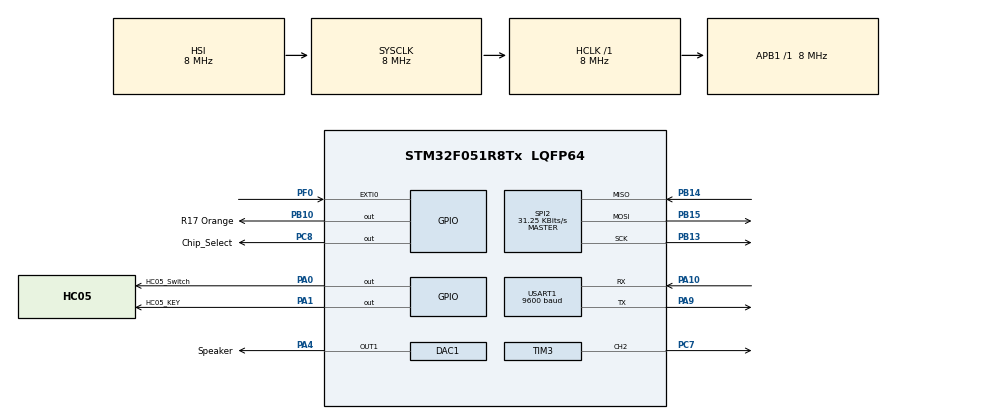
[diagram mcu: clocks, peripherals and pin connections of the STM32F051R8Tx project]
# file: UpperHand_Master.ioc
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Mcu.Family=STM32F0
Mcu.Name=STM32F051R8Tx
Mcu.Package=LQFP64
NVIC.USART1_IRQn=true\:0\:0\:false\:false\:true\:true\:true
PA0.GPIO_Label=HC05_Switch
PA0.Signal=GPIO_Output
PA1.GPIO_Label=HC05_KEY
PA1.GPIO_ModeDefaultOutputPP=GPIO_MODE_OUTPUT_PP
PA1.GPIO_PuPd=GPIO_PULLUP
PA1.GPIO_Speed=GPIO_SPEED_FREQ_LOW
PA1.PinState=GPIO_PIN_SET
PA1.Signal=GPIO_Output
PA10.Mode=Asynchronous
PA10.Signal=USART1_RX
PA4.GPIO_Label=Speaker
PA4.Signal=COMP_DAC11_group
PA9.Mode=Asynchronous
PA9.Signal=USART1_TX
PB10.GPIO_Label=R17 Orange
PB10.Signal=GPIO_Output
PB13.Mode=Full_Duplex_Master
PB13.Signal=SPI2_SCK
PB14.Mode=Full_Duplex_Master
PB14.Signal=SPI2_MISO
PB15.Mode=Full_Duplex_Master
PB15.Signal=SPI2_MOSI
PC7.Signal=S_TIM3_CH2
PC8.GPIO_Label=Chip_Select
PC8.PinState=GPIO_PIN_SET
PC8.Signal=GPIO_Output
PF0-OSC_IN.Signal=GPXTI0
ProjectManager.HeapSize=0x200
ProjectManager.StackSize=0x400
ProjectManager.TargetToolchain=STM32CubeIDE
RCC.AHBFreq_Value=8000000
RCC.APB1Freq_Value=8000000
RCC.APB1TimFreq_Value=8000000
RCC.HCLKFreq_Value=8000000
RCC.SYSCLKFreq_VALUE=8000000
SH.COMP_DAC11_group.0=DAC1_OUT1,DAC_OUT1
SH.S_TIM3_CH2.0=TIM3_CH2,PWM Generation2 CH2
SPI2.BaudRatePrescaler=SPI_BAUDRATEPRESCALER_256
SPI2.CLKPhase=SPI_PHASE_1EDGE
SPI2.CLKPolarity=SPI_POLARITY_LOW
SPI2.CalculateBaudRate=31.25 KBits/s
SPI2.DataSize=SPI_DATASIZE_8BIT
SPI2.Direction=SPI_DIRECTION_2LINES
SPI2.Mode=SPI_MODE_MASTER
SPI2.VirtualType=VM_MASTER
TIM3.Channel-PWM\ Generation2\ CH2=TIM_CHANNEL_2
TIM3.ClockDivision=TIM_CLOCKDIVISION_DIV2
TIM3.Period=100
TIM3.Prescaler=100
USART1.AutoBaudRateEnableParam=UART_ADVFEATURE_AUTOBAUDRATE_DISABLE
USART1.BaudRate=9600
USART1.VirtualMode-Asynchronous=VM_ASYNC
VP_TIM3_VS_ClockSourceINT.Mode=Internal
board=custom

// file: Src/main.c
/* USER CODE BEGIN Header */
/**
  ******************************************************************************
  * @file           : main.c
  * @brief          : Main program body
  ******************************************************************************
  * @attention
  *
  * <h2><center>&copy; Copyright (c) 2019 STMicroelectronics.
  * All rights reserved.</center></h2>
  *
  * This software component is licensed by ST under BSD 3-Clause license,
  * the "License"; You may not use this file except in compliance with the
  * License. You may obtain a copy of the License at:
  *                        opensource.org/licenses/BSD-3-Clause
  *
  ******************************************************************************
  */
/* USER CODE END Header */

#include "main.h"

/* USER CODE BEGIN Includes */
#include "LDC1101.h"

#define   SINE_RES         2048			// Waveform resolution
#define	MASTER	0		//Define the role before compiling - 0=Slave(Board with "S"); 1=Master(Board with "M")

#include "string.h"

const uint16_t function[SINE_RES] = { 2048, 2145, 2242, 2339, 2435, 2530, 2624, 2717, 2808, 2897,
                                      2984, 3069, 3151, 3230, 3307, 3381, 3451, 3518, 3581, 3640,
                                      3696, 3748, 3795, 3838, 3877, 3911, 3941, 3966, 3986, 4002,
                                      4013, 4019, 4020, 4016, 4008, 3995, 3977, 3954, 3926, 3894,
                                      3858, 3817, 3772, 3722, 3669, 3611, 3550, 3485, 3416, 3344,
                                      3269, 3191, 3110, 3027, 2941, 2853, 2763, 2671, 2578, 2483,
                                      2387, 2291, 2194, 2096, 1999, 1901, 1804, 1708, 1612, 1517,
                                      1424, 1332, 1242, 1154, 1068, 985, 904, 826, 751, 679,
                                      610, 545, 484, 426, 373, 323, 278, 237, 201, 169,
                                      141, 118, 100, 87, 79, 75, 76, 82, 93, 109,
                                      129, 154, 184, 218, 257, 300, 347, 399, 455, 514,
                                      577, 644, 714, 788, 865, 944, 1026, 1111, 1198, 1287,
                                      1378, 1471, 1565, 1660, 1756, 1853, 1950, 2047};

const uint16_t function2[64] = { 0x7fd,0x8c5,0x98c,0xa4f,0xb0c,0xbc1,0xc6d,0xd0e,
										0xda3,0xe2a,0xea1,0xf09,0xf5e,0xfa2,0xfd3,0xff0,
										0xffa,0xff0,0xfd3,0xfa2,0xf5e,0xf09,0xea1,0xe2a,
										0xda3,0xd0e,0xc6d,0xbc1,0xb0c,0xa4f,0x98c,0x8c5,
										0x7fd,0x735,0x66e,0x5ab,0x4ee,0x439,0x38d,0x2ec,
										0x257,0x1d0,0x159,0xf1,0x9c,0x58,0x27,0xa,
										0x0,0xa,0x27,0x58,0x9c,0xf1,0x159,0x1d0,
										0x257,0x2ec,0x38d,0x439,0x4ee,0x5ab,0x66e,0x735};

/* USER CODE END Includes */

DAC_HandleTypeDef hdac1;

SPI_HandleTypeDef hspi2;

TIM_HandleTypeDef htim3;

UART_HandleTypeDef huart1;

/* USER CODE BEGIN PV */
uint8_t Rx_data[2];
uint8_t Rx_Buffer[20], Rx_indx, Transfer_cplt;
uint8_t RxTx_Response[] = "Gotcha!!!\r\n";

float voltage = 2.2;
uint8_t valByte;

int pwm = 0;

//Variables for DAC
uint8_t indexx=0;
uint8_t delay=0;
uint8_t setpoint=200;
uint8_t outerloop=100;
/* USER CODE END PV */

void SystemClock_Config(void);
static void MX_GPIO_Init(void);
static void MX_USART1_UART_Init(void);
static void MX_DAC1_Init(void);
static void MX_SPI2_Init(void);
static void MX_TIM3_Init(void);

/* USER CODE BEGIN 0 */

uint8_t spiTXData[2];
uint8_t spiRXData[2];
uint8_t command;
uint8_t data;

void WriteSPI(uint8_t data , uint8_t addr)
//void WriteSPI()
{

	HAL_GPIO_WritePin(Chip_Select_GPIO_Port, Chip_Select_Pin, GPIO_PIN_RESET);
	//Transmit the register to write
	spiTXData[0] = addr & 0x7F;
	spiTXData[1] = data;
	//data = 0x01;
	HAL_SPI_Transmit(&hspi2, spiTXData, 2, 50);

	HAL_GPIO_WritePin(Chip_Select_GPIO_Port, Chip_Select_Pin, GPIO_PIN_SET);
	HAL_Delay(500);

	  /* USER CODE END 2 */
}

void ReadSPI()
{
	HAL_GPIO_WritePin(Chip_Select_GPIO_Port, Chip_Select_Pin, GPIO_PIN_RESET);
	//Transmit the register to read
	command = 0x80|0X21;
	HAL_SPI_Transmit(&hspi2, &command, 1, 50);

	command = 0x80|0x22;
	HAL_SPI_Transmit(&hspi2, &command, 1, 50);

	//Receive the data from the LDC
	HAL_SPI_Receive(&hspi2, spiRXData, 1, 50);

	//command = 0x80|0x23;
	//HAL_SPI_Transmit(&hspi2, &command, 1, 50);

	//command = 0x80|0x24;
	//HAL_SPI_Transmit(&hspi2, &command, 1, 50);

	HAL_GPIO_WritePin(Chip_Select_GPIO_Port, Chip_Select_Pin, GPIO_PIN_SET);

	  /* USER CODE END 2 */
}

void Config_Func_Mode(uint8_t mode)
{
	WriteSPI(mode, 0x0B);
}

void LDC_Init()
{
  WriteSPI(0x36, LDC1101_CMD_RP);
  WriteSPI(0xDE, LDC1101_CMD_TC1);
  WriteSPI(0xFE, LDC1101_CMD_TC2);
  WriteSPI(0xD7, LDC1101_CMD_DIGCONFIG);
  WriteSPI(0x00, LDC1101_CMD_ALTCONFIG);
  WriteSPI(0x00, LDC1101_CMD_D_CONFIG);
}

void playSound(void)
{
	while(indexx<127)
		  {
		 	 HAL_GPIO_WritePin (GPIOB, R17_Orange_Pin, GPIO_PIN_SET);
		  	 HAL_DAC_SetValue(&hdac1,DAC_CHANNEL_1,DAC_ALIGN_8B_R,function[indexx]);
		  	 indexx++;
		  	 while(delay<setpoint)
		  	 {
		  		  delay++;
		  	 }
		  	 delay=0;
		  }
		  indexx=0;
		  setpoint++;
}

void HAL_UART_RxCpltCallback(UART_HandleTypeDef *huart)

{
	    uint8_t i;
	    if (huart->Instance == USART1)  //current UART
	        {
	        if (Rx_indx==0) {for (i=0;i<100;i++) Rx_Buffer[i]=0;}   //clear Rx_Buffer before receiving new data

	        if (Rx_data[0]==49) //if received data different from ascii 10 (enter)
	            {
	            playSound();   //add data to Rx_Buffer
	            //HAL_GPIO_WritePin (GPIOB, R17_Orange_Pin, GPIO_PIN_SET);
	            }
	        else            //if received data = 13
	            {
	            Rx_indx=0;
	            Transfer_cplt=1;//transfer complete, data is ready to read
	            HAL_GPIO_WritePin (GPIOB, R17_Orange_Pin, GPIO_PIN_RESET);
	            }
	        HAL_GPIO_WritePin (GPIOB, R17_Orange_Pin, GPIO_PIN_RESET);
	        HAL_UART_Receive_IT(&huart1, Rx_data, 1);   //activate UART receive interrupt every time
	        }

}

void HAL_UART_ErrorCallback(UART_HandleTypeDef *huart)
{
	//NOT SURE THIS IS NEEDED......LEAVE FOR NOW
	//HAL_GPIO_WritePin (GPIOB, R17_Orange_Pin, GPIO_PIN_SET);
	//x = huart->ErrorCode;
}
/* USER CODE END 0 */

int main(void)
{
  /* USER CODE BEGIN 1 */
	void debugPrint(UART_HandleTypeDef *huart1, char _out[])
	    {
	     HAL_UART_Transmit(huart1, (uint8_t *) _out, strlen(_out), 15);
	     Error_Handler();
	    }
  /* USER CODE END 1 */

  /* MCU Configuration--------------------------------------------------------*/

  /* Reset of all peripherals, Initializes the Flash interface and the Systick. */
  HAL_Init();

  /* Configure the system clock */
  SystemClock_Config();

  /* Initialize all configured peripherals */
  MX_GPIO_Init();
  MX_USART1_UART_Init();
  //MX_DAC1_Init();
  //MX_SPI2_Init();
  MX_TIM3_Init();
  /* USER CODE BEGIN 2 */
  if (MASTER==1) {MX_DAC1_Init();}
  if (MASTER==0) {MX_SPI2_Init();}
  /* USER CODE END 2 */

  /* Infinite loop */
  /* USER CODE BEGIN WHILE */

  HAL_TIM_PWM_Start(&htim3, TIM_CHANNEL_2);

  HAL_GPIO_WritePin (GPIOB, R17_Orange_Pin, GPIO_PIN_SET);  //Start up indicator
  HAL_Delay(500);
  HAL_GPIO_WritePin (GPIOB, R17_Orange_Pin, GPIO_PIN_RESET);  //Turn off for other testing....
  HAL_GPIO_WritePin (GPIOA, HC05_KEY_Pin, GPIO_PIN_RESET); //Set this to HIGH to put HC05 in Program Mode
  HAL_Delay(200);
  HAL_GPIO_WritePin (GPIOA, HC05_Switch_Pin, GPIO_PIN_SET); //Power up the HC05
  HAL_Delay(200);

  //********THIS CODE IS USED TO SET THE ROLE OF THE HC05*********************
    /*debugPrint(&huart1, "AT+ROLE=1");
    debugPrint(&huart1, "\r\n");
    HAL_Delay(1000);
    debugPrint(&huart1, "AT+CMODE=0");
    debugPrint(&huart1, "\r\n");
    HAL_Delay(1000);
    debugPrint(&huart1, "AT+BIND=18,e4,34d7c7");// Slave address
    debugPrint(&huart1, "\r\n");*/
  //************************************************************************

    if (MASTER==1) {HAL_DAC_Start(&hdac1,DAC_CHANNEL_1);}

    valByte = (uint8_t)((voltage/3.3)*255);

    if (MASTER==0)
    {
    	Config_Func_Mode(SLEEP_MODE);
    	LDC_Init();
    	Config_Func_Mode(ACTIVE_MODE);
	}

  while (1)
  {
	  if (MASTER==1)
    /* USER CODE END WHILE */

    /* USER CODE BEGIN 3 */

	  	  {
	 		 HAL_UART_Receive_IT(&huart1, (uint8_t *) Rx_data, 1);
	 		 HAL_GPIO_WritePin (GPIOB, R17_Orange_Pin, GPIO_PIN_RESET);
	 		 HAL_UART_Receive_IT(&huart1, (uint8_t *) Rx_data, 1);
	  	  }
	  if (MASTER==0)
		  {
		  pwm = 25;
		  __HAL_TIM_SET_COMPARE(&htim3, TIM_CHANNEL_2, pwm);
		  HAL_Delay(10);
		  ReadSPI();
		  HAL_Delay(10);
		  if (spiRXData[0]!=210)
		  		 	  {
		  		 		  HAL_GPIO_WritePin (GPIOB, R17_Orange_Pin, GPIO_PIN_SET);
		  		 		  debugPrint(&huart1, "1"); //Send a 1 to indicate that metal was detected
		  		 	  } else {
		  		 		HAL_GPIO_WritePin (GPIOB, R17_Orange_Pin, GPIO_PIN_RESET);
		  		 		 debugPrint(&huart1, "0"); //Send a 0 to indicate that metal was NOT detected
		  		 	  }
		  }
  }
}

  /* USER CODE END 3 */

void SystemClock_Config(void)
{
  RCC_OscInitTypeDef RCC_OscInitStruct = {0};
  RCC_ClkInitTypeDef RCC_ClkInitStruct = {0};
  RCC_PeriphCLKInitTypeDef PeriphClkInit = {0};

  /** Initializes the CPU, AHB and APB busses clocks
  */
  RCC_OscInitStruct.OscillatorType = RCC_OSCILLATORTYPE_HSI;
  RCC_OscInitStruct.HSIState = RCC_HSI_ON;
  RCC_OscInitStruct.HSICalibrationValue = RCC_HSICALIBRATION_DEFAULT;
  RCC_OscInitStruct.PLL.PLLState = RCC_PLL_NONE;
  if (HAL_RCC_OscConfig(&RCC_OscInitStruct) != HAL_OK)
  {
    Error_Handler();
  }
  /** Initializes the CPU, AHB and APB busses clocks
  */
  RCC_ClkInitStruct.ClockType = RCC_CLOCKTYPE_HCLK|RCC_CLOCKTYPE_SYSCLK
                              |RCC_CLOCKTYPE_PCLK1;
  RCC_ClkInitStruct.SYSCLKSource = RCC_SYSCLKSOURCE_HSI;
  RCC_ClkInitStruct.AHBCLKDivider = RCC_SYSCLK_DIV1;
  RCC_ClkInitStruct.APB1CLKDivider = RCC_HCLK_DIV1;

  if (HAL_RCC_ClockConfig(&RCC_ClkInitStruct, FLASH_LATENCY_0) != HAL_OK)
  {
    Error_Handler();
  }
  PeriphClkInit.PeriphClockSelection = RCC_PERIPHCLK_USART1;
  PeriphClkInit.Usart1ClockSelection = RCC_USART1CLKSOURCE_PCLK1;
  if (HAL_RCCEx_PeriphCLKConfig(&PeriphClkInit) != HAL_OK)
  {
    Error_Handler();
  }
}

static void MX_DAC1_Init(void)
{

  DAC_ChannelConfTypeDef sConfig = {0};

  /** DAC Initialization
  */
  hdac1.Instance = DAC;
  if (HAL_DAC_Init(&hdac1) != HAL_OK)
  {
    Error_Handler();
  }
  /** DAC channel OUT1 config
  */
  sConfig.DAC_Trigger = DAC_TRIGGER_NONE;
  sConfig.DAC_OutputBuffer = DAC_OUTPUTBUFFER_ENABLE;
  if (HAL_DAC_ConfigChannel(&hdac1, &sConfig, DAC_CHANNEL_1) != HAL_OK)
  {
    Error_Handler();
  }

}

static void MX_SPI2_Init(void)
{

  /* SPI2 parameter configuration*/
  hspi2.Instance = SPI2;
  hspi2.Init.Mode = SPI_MODE_MASTER;
  hspi2.Init.Direction = SPI_DIRECTION_2LINES;
  hspi2.Init.DataSize = SPI_DATASIZE_8BIT;
  hspi2.Init.CLKPolarity = SPI_POLARITY_LOW;
  hspi2.Init.CLKPhase = SPI_PHASE_1EDGE;
  hspi2.Init.NSS = SPI_NSS_SOFT;
  hspi2.Init.BaudRatePrescaler = SPI_BAUDRATEPRESCALER_256;
  hspi2.Init.FirstBit = SPI_FIRSTBIT_MSB;
  hspi2.Init.TIMode = SPI_TIMODE_DISABLE;
  hspi2.Init.CRCCalculation = SPI_CRCCALCULATION_DISABLE;
  hspi2.Init.CRCPolynomial = 7;
  hspi2.Init.CRCLength = SPI_CRC_LENGTH_DATASIZE;
  hspi2.Init.NSSPMode = SPI_NSS_PULSE_ENABLE;
  if (HAL_SPI_Init(&hspi2) != HAL_OK)
  {
    Error_Handler();
  }

}

static void MX_TIM3_Init(void)
{

  TIM_ClockConfigTypeDef sClockSourceConfig = {0};
  TIM_MasterConfigTypeDef sMasterConfig = {0};
  TIM_OC_InitTypeDef sConfigOC = {0};

  htim3.Instance = TIM3;
  htim3.Init.Prescaler = 100;
  htim3.Init.CounterMode = TIM_COUNTERMODE_UP;
  htim3.Init.Period = 100;
  htim3.Init.ClockDivision = TIM_CLOCKDIVISION_DIV2;
  htim3.Init.AutoReloadPreload = TIM_AUTORELOAD_PRELOAD_DISABLE;
  if (HAL_TIM_Base_Init(&htim3) != HAL_OK)
  {
    Error_Handler();
  }
  sClockSourceConfig.ClockSource = TIM_CLOCKSOURCE_INTERNAL;
  if (HAL_TIM_ConfigClockSource(&htim3, &sClockSourceConfig) != HAL_OK)
  {
    Error_Handler();
  }
  if (HAL_TIM_PWM_Init(&htim3) != HAL_OK)
  {
    Error_Handler();
  }
  sMasterConfig.MasterOutputTrigger = TIM_TRGO_RESET;
  sMasterConfig.MasterSlaveMode = TIM_MASTERSLAVEMODE_DISABLE;
  if (HAL_TIMEx_MasterConfigSynchronization(&htim3, &sMasterConfig) != HAL_OK)
  {
    Error_Handler();
  }
  sConfigOC.OCMode = TIM_OCMODE_PWM1;
  sConfigOC.Pulse = 0;
  sConfigOC.OCPolarity = TIM_OCPOLARITY_HIGH;
  sConfigOC.OCFastMode = TIM_OCFAST_DISABLE;
  if (HAL_TIM_PWM_ConfigChannel(&htim3, &sConfigOC, TIM_CHANNEL_2) != HAL_OK)
  {
    Error_Handler();
  }
  HAL_TIM_MspPostInit(&htim3);

}

static void MX_USART1_UART_Init(void)
{

  huart1.Instance = USART1;
  huart1.Init.BaudRate = 9600;
  huart1.Init.WordLength = UART_WORDLENGTH_8B;
  huart1.Init.StopBits = UART_STOPBITS_1;
  huart1.Init.Parity = UART_PARITY_NONE;
  huart1.Init.Mode = UART_MODE_TX_RX;
  huart1.Init.HwFlowCtl = UART_HWCONTROL_NONE;
  huart1.Init.OverSampling = UART_OVERSAMPLING_16;
  huart1.Init.OneBitSampling = UART_ONE_BIT_SAMPLE_DISABLE;
  huart1.AdvancedInit.AdvFeatureInit = UART_ADVFEATURE_NO_INIT;
  if (HAL_UART_Init(&huart1) != HAL_OK)
  {
    Error_Handler();
  }

}

static void MX_GPIO_Init(void)
{
  GPIO_InitTypeDef GPIO_InitStruct = {0};

  /* GPIO Ports Clock Enable */
  __HAL_RCC_GPIOF_CLK_ENABLE();
  __HAL_RCC_GPIOA_CLK_ENABLE();
  __HAL_RCC_GPIOB_CLK_ENABLE();
  __HAL_RCC_GPIOC_CLK_ENABLE();

  /*Configure GPIO pin Output Level */
  HAL_GPIO_WritePin(HC05_Switch_GPIO_Port, HC05_Switch_Pin, GPIO_PIN_RESET);

  /*Configure GPIO pin Output Level */
  HAL_GPIO_WritePin(HC05_KEY_GPIO_Port, HC05_KEY_Pin, GPIO_PIN_SET);

  /*Configure GPIO pin Output Level */
  HAL_GPIO_WritePin(R17_Orange_GPIO_Port, R17_Orange_Pin, GPIO_PIN_RESET);

  /*Configure GPIO pin Output Level */
  HAL_GPIO_WritePin(Chip_Select_GPIO_Port, Chip_Select_Pin, GPIO_PIN_SET);

  /*Configure GPIO pin : PF0 */
  GPIO_InitStruct.Pin = GPIO_PIN_0;
  GPIO_InitStruct.Mode = GPIO_MODE_IT_RISING;
  GPIO_InitStruct.Pull = GPIO_NOPULL;
  HAL_GPIO_Init(GPIOF, &GPIO_InitStruct);

  /*Configure GPIO pin : HC05_Switch_Pin */
  GPIO_InitStruct.Pin = HC05_Switch_Pin;
  GPIO_InitStruct.Mode = GPIO_MODE_OUTPUT_PP;
  GPIO_InitStruct.Pull = GPIO_NOPULL;
  GPIO_InitStruct.Speed = GPIO_SPEED_FREQ_LOW;
  HAL_GPIO_Init(HC05_Switch_GPIO_Port, &GPIO_InitStruct);

  /*Configure GPIO pin : HC05_KEY_Pin */
  GPIO_InitStruct.Pin = HC05_KEY_Pin;
  GPIO_InitStruct.Mode = GPIO_MODE_OUTPUT_PP;
  GPIO_InitStruct.Pull = GPIO_PULLUP;
  GPIO_InitStruct.Speed = GPIO_SPEED_FREQ_LOW;
  HAL_GPIO_Init(HC05_KEY_GPIO_Port, &GPIO_InitStruct);

  /*Configure GPIO pin : R17_Orange_Pin */
  GPIO_InitStruct.Pin = R17_Orange_Pin;
  GPIO_InitStruct.Mode = GPIO_MODE_OUTPUT_PP;
  GPIO_InitStruct.Pull = GPIO_NOPULL;
  GPIO_InitStruct.Speed = GPIO_SPEED_FREQ_LOW;
  HAL_GPIO_Init(R17_Orange_GPIO_Port, &GPIO_InitStruct);

  /*Configure GPIO pin : Chip_Select_Pin */
  GPIO_InitStruct.Pin = Chip_Select_Pin;
  GPIO_InitStruct.Mode = GPIO_MODE_OUTPUT_PP;
  GPIO_InitStruct.Pull = GPIO_NOPULL;
  GPIO_InitStruct.Speed = GPIO_SPEED_FREQ_LOW;
  HAL_GPIO_Init(Chip_Select_GPIO_Port, &GPIO_InitStruct);

}

void Error_Handler(void)
{
}

/************************ (C) COPYRIGHT STMicroelectronics *****END OF FILE****/
